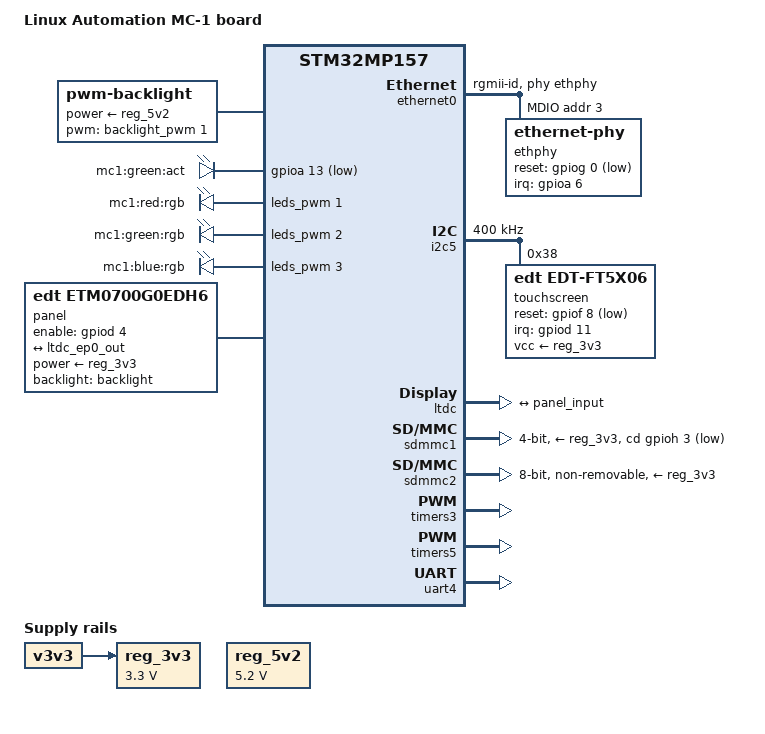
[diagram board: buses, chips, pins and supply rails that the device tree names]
/* SPDX-License-Identifier: (GPL-2.0-or-later OR BSD-3-Clause) */
/*
 * Copyright (C) 2020 STMicroelectronics - All Rights Reserved
 * Copyright (C) 2020 Ahmad Fatoum, Pengutronix
 */

/dts-v1/;

#include "stm32mp157.dtsi"
#include "stm32mp15xx-osd32.dtsi"
#include "stm32mp15xxac-pinctrl.dtsi"

#include <dt-bindings/gpio/gpio.h>
#include <dt-bindings/pwm/pwm.h>

/ {
	model = "Linux Automation MC-1 board";
	compatible = "lxa,stm32mp157c-mc1", "oct,stm32mp15xx-osd32", "st,stm32mp157";

	aliases {
		ethernet0 = &ethernet0;
		mmc0 = &sdmmc1;
		mmc1 = &sdmmc2;
		serial0 = &uart4;
	};

	backlight: backlight {
		compatible = "pwm-backlight";
		pwms = <&backlight_pwm 1 100000 PWM_POLARITY_INVERTED>;
		brightness-levels = <0 31 63 95 127 159 191 223 255>;
		default-brightness-level = <7>;
		power-supply = <&reg_5v2>; /* 3V3_BACKLIGHT */
	};

	chosen {
		stdout-path = &uart4;
	};

	led-controller-0 {
		compatible = "gpio-leds";

		led-0 {
			label = "mc1:green:act";
			gpios = <&gpioa 13 GPIO_ACTIVE_LOW>;
			linux,default-trigger = "heartbeat";
		};
	};

	led-controller-1 {
		compatible = "pwm-leds";

		/* led-1 to led-3 are part of a single RGB led */
		led-1 {
			label = "mc1:red:rgb";
			pwms = <&leds_pwm 1 1000000 0>;
			max-brightness = <255>;
			active-low;
		};

		led-2 {
			label = "mc1:green:rgb";
			pwms = <&leds_pwm 2 1000000 0>;
			max-brightness = <255>;
			active-low;
		};

		led-3 {
			label = "mc1:blue:rgb";
			pwms = <&leds_pwm 3 1000000 0>;
			max-brightness = <255>;
			active-low;
		};
	};

	panel: panel {
		compatible = "edt,etm0700g0edh6", "simple-panel";
		backlight = <&backlight>;
		enable-gpios = <&gpiod 4 GPIO_ACTIVE_HIGH>;
		power-supply = <&reg_3v3>;

		port {
			panel_input: endpoint {
				remote-endpoint = <&ltdc_ep0_out>;
			};
		};
	};

	reg_3v3: regulator_3v3 {
		compatible = "regulator-fixed";
		regulator-name = "3V3";
		regulator-min-microvolt = <3300000>;
		regulator-max-microvolt = <3300000>;
		regulator-always-on;
		vin-supply = <&v3v3>;
	};

	/* supplied by either debug board or PoE */
	reg_5v2: regulator_5v2 {
		compatible = "regulator-fixed";
		regulator-name = "5V2";
		regulator-min-microvolt = <5200000>;
		regulator-max-microvolt = <5200000>;
		regulator-always-on;
	};
};

&ethernet0 {
	pinctrl-names = "default", "sleep";
	pinctrl-0 = <&ethernet0_rgmii_pins_b>;
	pinctrl-1 = <&ethernet0_rgmii_sleep_pins_b>;
	phy-mode = "rgmii-id";
	phy-handle = <&ethphy>;
	status = "okay";

	mdio {
		compatible = "snps,dwmac-mdio";
		#address-cells = <1>;
		#size-cells = <0>;

		ethphy: ethernet-phy@3 { /* KSZ9031RN */
			reg = <3>;
			reset-gpios = <&gpiog 0 GPIO_ACTIVE_LOW>; /* ETH_RST# */
			interrupt-parent = <&gpioa>;
			interrupts = <6 IRQ_TYPE_EDGE_FALLING>; /* ETH_MDINT# */
			reset-assert-us = <10000>;
			reset-deassert-us = <300>;
			micrel,force-master;
		};
	};
};

&gpioz {
	gpio-line-names = "HWID0", "HWID1", "HWID2", "HWID3", "", "",
			  "HWID4", "HWID5";
};

&i2c5 {
	pinctrl-names = "default", "sleep";
	pinctrl-0 = <&i2c5_pins_b>;
	pinctrl-1 = <&i2c5_sleep_pins_b>;
	clock-frequency = <400000>;
	status = "okay";

	touchscreen@38 {
		compatible = "edt,edt-ft5x06";
		interrupt-parent = <&gpiod>;
		interrupts = <11 IRQ_TYPE_EDGE_FALLING>; /* TOUCH_INT# */
		vcc-supply = <&reg_3v3>;
		reg = <0x38>;
		reset-gpios = <&gpiof 8 GPIO_ACTIVE_LOW>; /* TOUCH_RESET# */
		touchscreen-size-x = <1792>;
		touchscreen-size-y = <1024>;
		wakeup-source;
	};
};

&ltdc {
	pinctrl-names = "default", "sleep";
	pinctrl-0 = <&ltdc_pins_c>;
	pinctrl-1 = <&ltdc_sleep_pins_c>;
	status = "okay";

	port {
		ltdc_ep0_out: endpoint@0 {
			reg = <0>;
			remote-endpoint = <&panel_input>;
		};
	};
};

&pmic {
	regulators {
		buck4-supply = <&reg_5v2>;	/* VIN */
		ldo2-supply = <&reg_5v2>;	/* PMIC_LDO25IN */
		ldo5-supply = <&reg_5v2>;	/* PMIC_LDO25IN */
		boost-supply = <&reg_5v2>;	/* PMIC_BSTIN */
		pwr_sw2-supply = <&bst_out>;    /* PMIC_SWIN */
	};
};

&sdmmc1 {
	pinctrl-names = "default", "opendrain", "sleep";
	pinctrl-0 = <&sdmmc1_b4_pins_a>;
	pinctrl-1 = <&sdmmc1_b4_od_pins_a>;
	pinctrl-2 = <&sdmmc1_b4_sleep_pins_a>;
	bus-width = <4>;
	cd-gpios = <&gpioh 3 GPIO_ACTIVE_LOW>;
	disable-wp;
	no-1-8-v;
	st,neg-edge;
	vmmc-supply = <&reg_3v3>;
	status = "okay";
};

&sdmmc1_b4_pins_a {
	/*
	 * board lacks external pull-ups on SDMMC lines. Class 10 SD refuses to
	 * work, thus enable internal pull-ups.
	 */
	pins1 {
		/delete-property/ bias-disable;
		bias-pull-up;
	};
	pins2 {
		/delete-property/ bias-disable;
		bias-pull-up;
	};
};

&sdmmc2 {
	pinctrl-names = "default", "opendrain", "sleep";
	pinctrl-0 = <&sdmmc2_b4_pins_a &sdmmc2_d47_pins_b>;
	pinctrl-1 = <&sdmmc2_b4_od_pins_a &sdmmc2_d47_pins_b>;
	pinctrl-2 = <&sdmmc2_b4_sleep_pins_a &sdmmc2_d47_sleep_pins_b>;
	bus-width = <8>;
	mmc-ddr-3_3v;
	no-1-8-v;
	no-sd;
	no-sdio;
	non-removable;
	st,neg-edge;
	vmmc-supply = <&reg_3v3>;
	status = "okay";
};

&timers3 {
	status = "okay";

	backlight_pwm: pwm {
		pinctrl-names = "default", "sleep";
		pinctrl-0 = <&pwm3_pins_b>;
		pinctrl-1 = <&pwm3_sleep_pins_b>;
		status = "okay";
	};
};

&timers5 {
	status = "okay";

	leds_pwm: pwm {
		pinctrl-names = "default", "sleep";
		pinctrl-0 = <&pwm5_pins_b>;
		pinctrl-1 = <&pwm5_sleep_pins_b>;
		status = "okay";
	};
};

&uart4 {
	pinctrl-names = "default";
	pinctrl-0 = <&uart4_pins_a>;
	/delete-property/dmas;
	/delete-property/dma-names;
	status = "okay";
};
